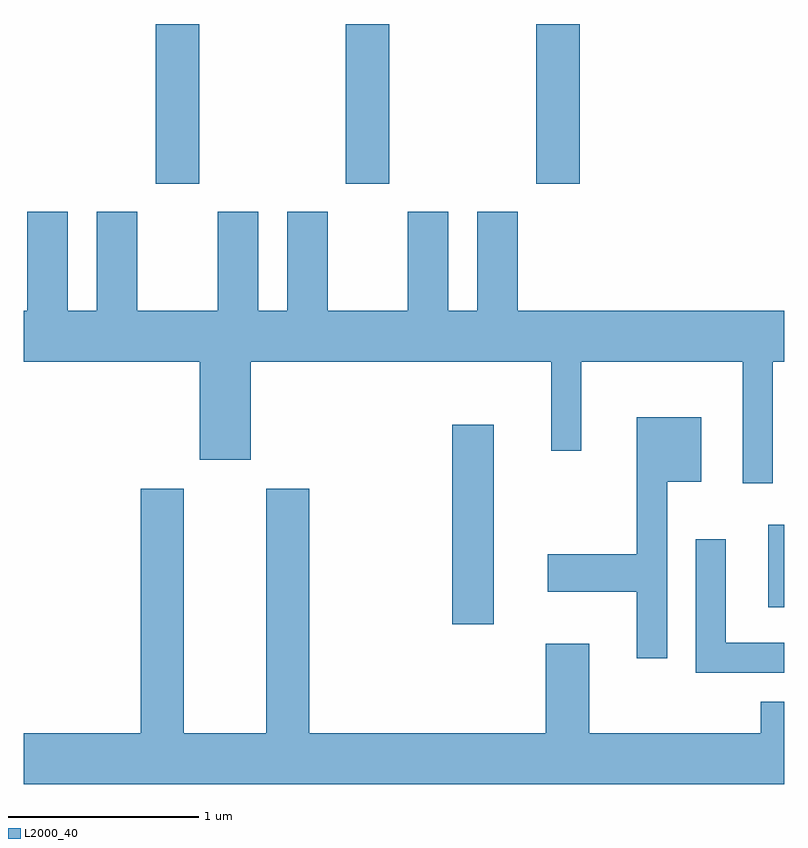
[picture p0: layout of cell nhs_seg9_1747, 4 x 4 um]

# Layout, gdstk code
import gdstk
lib = gdstk.Library(unit=1e-6, precision=1e-09)
def R(c, l, rs):  # rectangles x0, y0, x1, y1
    for r in rs: c.add(gdstk.rectangle(r[:2], r[2:], *l))
def A(c, l, x, y, w, h, nx, ny, dx, dy):  # array of equal rectangles
    R(c, l, [(x+i*dx, y+j*dy, x+i*dx+w, y+j*dy+h) for i in range(nx) for j in range(ny)])
def P(c, l, *ps):  # polygons
    for p in ps: c.add(gdstk.Polygon(p, *l))
L2000_40 = (2000, 40)

nhs_seg9_1747 = lib.new_cell('nhs_seg9_1747')
A(nhs_seg9_1747, L2000_40, 236.306, 2041.591, 0.228, 0.841, 3, 1, 1, 0)
R(nhs_seg9_1747, L2000_40, [(237.866,2039.276,238.084,2040.324), (239.526,2039.366,239.611,2039.799)])
P(nhs_seg9_1747, L2000_40, [(239.549,2040.656),(239.611,2040.656),(239.611,2040.924),(238.209,2040.924),(238.209,2041.444),(237.996,2041.444),(237.996,2040.924),(237.844,2040.924),(237.844,2041.444),(237.631,2041.444),(237.631,2040.924),(237.209,2040.924),(237.209,2041.444),(236.996,2041.444),(236.996,2040.924),(236.844,2040.924),(236.844,2041.444),(236.631,2041.444),(236.631,2040.924),(236.209,2040.924),(236.209,2041.444),(235.996,2041.444),(235.996,2040.924),(235.844,2040.924),(235.844,2041.444),(235.631,2041.444),(235.631,2040.924),(235.611,2040.924),(235.611,2040.656),(236.536,2040.656),(236.536,2040.141),(236.804,2040.141),(236.804,2040.656),(238.386,2040.656),(238.386,2040.188),(238.544,2040.188),(238.544,2040.656),(239.391,2040.656),(239.391,2040.018),(239.549,2040.018)],
  [(238.994,2040.026),(239.174,2040.026),(239.174,2040.364),(238.836,2040.364),(238.836,2039.644),(238.366,2039.644),(238.366,2039.446),(238.836,2039.446),(238.836,2039.098),(238.994,2039.098)],
  [(239.611,2038.869),(239.486,2038.869),(239.486,2038.704),(238.584,2038.704),(238.584,2039.174),(238.356,2039.174),(238.356,2038.704),(237.114,2038.704),(237.114,2039.989),(236.886,2039.989),(236.886,2038.704),(236.454,2038.704),(236.454,2039.989),(236.226,2039.989),(236.226,2038.704),(235.611,2038.704),(235.611,2038.436),(239.611,2038.436)],
  [(239.611,2039.179),(239.304,2039.179),(239.304,2039.723),(239.146,2039.723),(239.146,2039.021),(239.611,2039.021)])

lib.write_gds('nhs_seg9_1747.gds')
